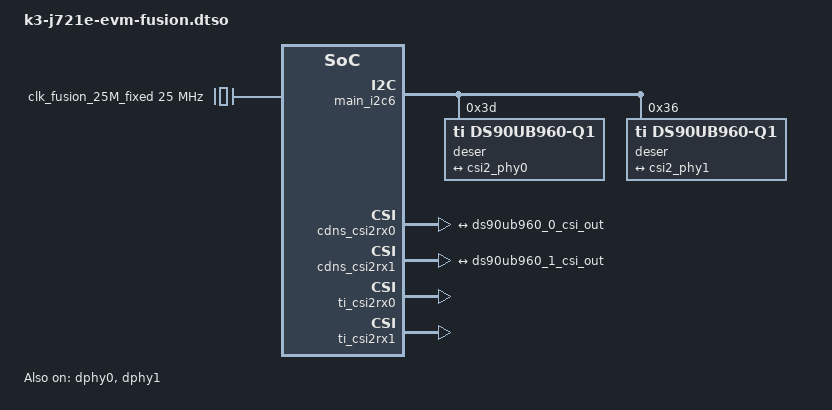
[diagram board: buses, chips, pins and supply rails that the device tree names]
// SPDX-License-Identifier: GPL-2.0
/*
 * DT Overlay for Fusion (FPD-Link III) board on J721E EVM
 * https://svtronics.com/portfolio/evm577pfusion-v1-0-fusion/
 *
 * Copyright (C) 2024 Texas Instruments Incorporated - http://www.ti.com/
 */

/dts-v1/;
/plugin/;

#include <dt-bindings/gpio/gpio.h>

&{/} {
	clk_fusion_25M_fixed: fixed-clock-25M {
		compatible = "fixed-clock";
		#clock-cells = <0>;
		clock-frequency = <25000000>;
	};
};


&main_i2c6 {
	#address-cells = <1>;
	#size-cells = <0>;
	status = "okay";

	deser@3d {
		compatible = "ti,ds90ub960-q1";
		reg = <0x3d>;
		clocks = <&clk_fusion_25M_fixed>;
		clock-names = "refclk";
		i2c-alias-pool = <0x4a 0x4b 0x4c 0x4d 0x4e 0x4f>;

		ds90ub960_0_ports: ports {
			#address-cells = <1>;
			#size-cells = <0>;

			/* CSI-2 TX */
			port@4 {
				reg = <4>;
				ds90ub960_0_csi_out: endpoint {
					data-lanes = <1 2 3 4>;
					clock-lanes = <0>;
					link-frequencies = /bits/ 64 <800000000>;
					remote-endpoint = <&csi2_phy0>;
				};
			};
		};

		ds90ub960_0_links: links {
			#address-cells = <1>;
			#size-cells = <0>;
		};
	};

	deser@36 {
		compatible = "ti,ds90ub960-q1";
		reg = <0x36>;
		clocks = <&clk_fusion_25M_fixed>;
		clock-names = "refclk";
		i2c-alias-pool = <0x5a 0x5b 0x5c 0x5d 0x5e 0x5f>;

		ds90ub960_1_ports: ports {
			#address-cells = <1>;
			#size-cells = <0>;

			/* CSI-2 TX */
			port@4 {
				reg = <4>;
				ds90ub960_1_csi_out: endpoint {
					data-lanes = <1 2 3 4>;
					clock-lanes = <0>;
					link-frequencies = /bits/ 64 <800000000>;
					remote-endpoint = <&csi2_phy1>;
				};
			};
		};

		ds90ub960_1_links: links {
			#address-cells = <1>;
			#size-cells = <0>;
		};
	};
};

&cdns_csi2rx0 {
	ports {
		#address-cells = <1>;
		#size-cells = <0>;

		csi0_port0: port@0 {
			reg = <0>;
			status = "okay";

			csi2_phy0: endpoint {
				remote-endpoint = <&ds90ub960_0_csi_out>;
				clock-lanes = <0>;
				data-lanes = <1 2 3 4>;
				link-frequencies = /bits/ 64 <800000000>;

			};
		};
	};
};

&cdns_csi2rx1 {
	ports {
		#address-cells = <1>;
		#size-cells = <0>;

		csi1_port0: port@0 {
			reg = <0>;
			status = "okay";

			csi2_phy1: endpoint {
				remote-endpoint = <&ds90ub960_1_csi_out>;
				bus-type = <4>; /* CSI2 DPHY */
				clock-lanes = <0>;
				data-lanes = <1 2 3 4>;
				link-frequencies = /bits/ 64 <800000000>;
			};
		};
	};
};

&ti_csi2rx0 {
	status = "okay";
};

&dphy0 {
	status = "okay";
};

&ti_csi2rx1 {
	status = "okay";
};

&dphy1 {
	status = "okay";
};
